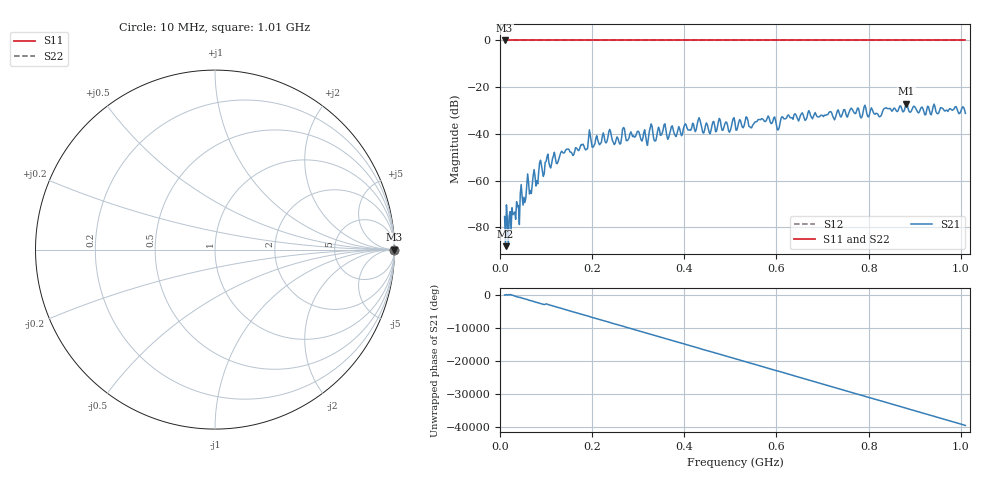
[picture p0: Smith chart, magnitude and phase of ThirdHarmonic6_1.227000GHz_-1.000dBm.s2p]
! 8/16/2025 12:55:41 PM
! C:\ANRITSUVNA\TEMP\TEMP.S2P
! CHANNEL.1
! TR.MEASUREMENT
! RAW.DATA
! RF.CORRECTION.OFF
! AVERAGING.OFF
! IF.BANDWIDTH: 5KHZ
! SWEEPTYPE:  FREQ.SWEEP(Linear)
! Reference Plane Port Info
! PORT:  PORT1  PORT2
! DISTANCE:  0  m  0  m
! TIME:  0  s  0  s
! PHASE.OFFSET:  0  deg.  0  deg.
! LOSS:  0  dB  0  dB
! REF.LOSS:  0  dB  0  dB
! REF.FREQ:  0  Hz  0  Hz
! Power Info
! POWER:  -20  dBm  -20  dBm
! EFF.POWER:  -20  dBm  -20  dBm
! SOURCE.ATTEN:  0  dB  0  dB
! TEST.ATTEN:  0  dB  0  dB
# GHZ S RI R 50.0
! FREQ.GHZ  S11RE  S11IM  S21RE  S21IM  S12RE  S12IM  S22RE  S22IM
!; PortSelection: Port_12
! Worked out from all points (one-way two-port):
!   501 points, 10 MHz to 1.01 GHz, reference 50 ohm
!   highest |S21| = -27.03 dB at 882 MHz (marker M1); lowest = -88.1 dB at 12 MHz (marker M2)
!   lowest |S11| = 0.0 dB at 10 MHz (marker M3)
!   |S11| at or under -10 dB: nowhere
!   |S22| runs from 0.0 to 0.0 dB; largest |S21 - S12| = 1
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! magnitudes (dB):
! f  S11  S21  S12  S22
! 10 MHz  0.0  -75.4  0.0  0.0
! 12 MHz  0.0  -88.1  0.0  0.0
! 38 MHz  0.0  -71.2  0.0  0.0
! 48 MHz  0.0  -66.8  0.0  0.0
! 52 MHz  0.0  -67.1  0.0  0.0
! 60 MHz  0.0  -57.2  0.0  0.0
! 102 MHz  0.0  -49.9  0.0  0.0
! 178 MHz  0.0  -44.7  0.0  0.0
! 238 MHz  0.0  -38.1  0.0  0.0
! 248 MHz  0.0  -44.6  0.0  0.0
! 268 MHz  0.0  -37.3  0.0  0.0
! 276 MHz  0.0  -42.9  0.0  0.0
! 344 MHz  0.0  -37.2  0.0  0.0
! 432 MHz  0.0  -33.1  0.0  0.0
! 510 MHz  0.0  -35.3  0.0  0.0
! 582 MHz  0.0  -32.3  0.0  0.0
! 604 MHz  0.0  -38.3  0.0  0.0
! 614 MHz  0.0  -32.9  0.0  0.0
! 678 MHz  0.0  -33.6  0.0  0.0
! 844 MHz  0.0  -29.2  0.0  0.0
! 882 MHz  0.0  -27.0  0.0  0.0
! 1.01 GHz  0.0  -31.2  0.0  0.0
